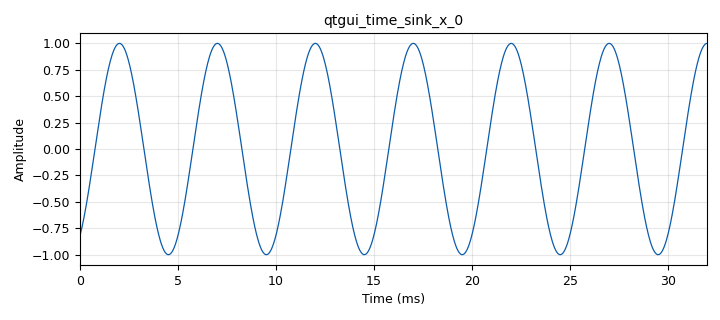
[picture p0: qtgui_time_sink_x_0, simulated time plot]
options:
  parameters:
    generate_options: qt_gui
    id: fifo_file_sink_3_1
    output_language: python
    title: Streaming data into a file connected to a FIFO
  states: {}

blocks:
- name: f
  id: variable_qtgui_range
  parameters:
    start: '0'
    step: '10'
    stop: samp_rate/2
    value: '200'
  states: {}
- name: samp_rate
  id: variable
  parameters:
    value: '32000'
  states: {}
- name: analog_sig_source_x_0
  id: analog_sig_source_x
  parameters:
    amp: '1'
    freq: f
    offset: '0'
    phase: '0'
    samp_rate: samp_rate
    type: float
    waveform: analog.GR_COS_WAVE
  states: {}
- name: blocks_file_sink_0
  id: blocks_file_sink
  parameters:
    comment: |-
      Create with command "mkfifo /tmp/myfifo" 
      before running program
    file: /tmp/myfifo
    type: float
  states: {}
- name: blocks_throttle2_0
  id: blocks_throttle2
  parameters:
    samples_per_second: samp_rate
    type: float
  states: {}
- name: qtgui_time_sink_x_0
  id: qtgui_time_sink_x
  parameters:
    autoscale: 'True'
    size: '1024'
    srate: samp_rate
    type: float
  states: {}

connections:
- [analog_sig_source_x_0, '0', blocks_throttle2_0, '0']
- [analog_sig_source_x_0, '0', qtgui_time_sink_x_0, '0']
- [blocks_throttle2_0, '0', blocks_file_sink_0, '0']

metadata:
  file_format: 1
  grc_version: 3.10.12.0
